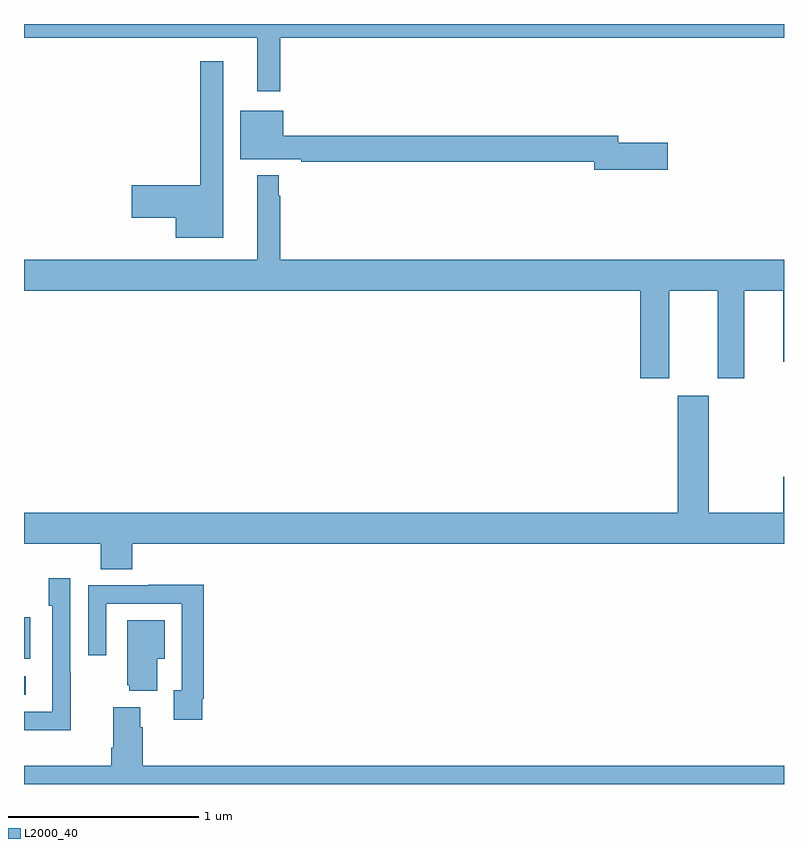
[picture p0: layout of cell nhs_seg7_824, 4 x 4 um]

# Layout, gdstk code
import gdstk
lib = gdstk.Library(unit=1e-6, precision=1e-09)
def R(c, l, rs):  # rectangles x0, y0, x1, y1
    for r in rs: c.add(gdstk.rectangle(r[:2], r[2:], *l))
def P(c, l, *ps):  # polygons
    for p in ps: c.add(gdstk.Polygon(p, *l))
L2000_40 = (2000, 40)

nhs_seg7_824 = lib.new_cell('nhs_seg7_824')
R(nhs_seg7_824, L2000_40, [(173,1018.47,173.008,1018.566), (173,1018.658,173.032,1018.877)])
P(nhs_seg7_824, L2000_40, [(177,1022),(173,1022),(173,1021.928),(174.227,1021.928),(174.227,1021.647),(174.349,1021.647),(174.349,1021.928),(177,1021.928)],
  [(174.049,1021.804),(173.928,1021.804),(173.928,1021.151),(173.568,1021.151),(173.568,1020.98),(173.798,1020.98),(173.798,1020.875),(174.049,1020.875)],
  [(176.389,1021.376),(176.128,1021.376),(176.128,1021.412),(174.364,1021.412),(174.364,1021.543),(174.137,1021.543),(174.137,1021.289),(174.46,1021.289),(174.46,1021.276),(176,1021.276),(176,1021.234),(176.389,1021.234)],
  [(176.395,1020.596),(176.651,1020.596),(176.651,1020.135),(176.791,1020.135),(176.791,1020.596),(176.996,1020.596),(176.996,1020.222),(177,1020.222),(177,1020.76),(174.349,1020.76),(174.349,1021.097),(174.342,1021.097),(174.342,1021.204),(174.227,1021.204),(174.227,1020.76),(173,1020.76),(173,1020.596),(176.243,1020.596),(176.243,1020.135),(176.395,1020.135)],
  [(173.57,1019.264),(177,1019.264),(177,1019.617),(176.996,1019.617),(176.996,1019.428),(176.605,1019.428),(176.605,1020.043),(176.441,1020.043),(176.441,1019.428),(173,1019.428),(173,1019.264),(173.405,1019.264),(173.405,1019.131),(173.57,1019.131)],
  [(173.247,1018.589),(173.244,1018.589),(173.244,1019.083),(173.129,1019.083),(173.129,1018.938),(173.148,1018.938),(173.148,1018.38),(173,1018.38),(173,1018.283),(173.247,1018.283)],
  [(173.938,1018.45),(173.945,1018.45),(173.945,1019.048),(173.653,1019.048),(173.653,1019.046),(173.337,1019.046),(173.337,1018.677),(173.433,1018.677),(173.433,1018.95),(173.829,1018.95),(173.829,1018.494),(173.789,1018.494),(173.789,1018.338),(173.938,1018.338)],
  [(173.701,1018.658),(173.74,1018.658),(173.74,1018.861),(173.543,1018.861),(173.543,1018.521),(173.555,1018.521),(173.555,1018.49),(173.701,1018.49)],
  [(177,1018.096),(173.624,1018.096),(173.624,1018.298),(173.611,1018.298),(173.611,1018.405),(173.471,1018.405),(173.471,1018.192),(173.459,1018.192),(173.459,1018.096),(173,1018.096),(173,1018),(177,1018)])

lib.write_gds('nhs_seg7_824.gds')
